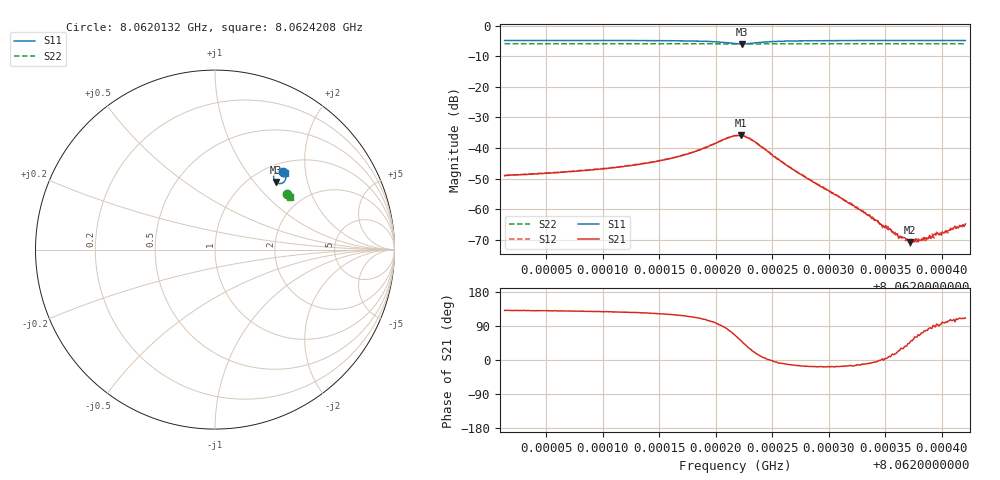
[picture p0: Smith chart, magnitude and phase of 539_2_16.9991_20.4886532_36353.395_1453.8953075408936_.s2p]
#  HZ  S  RI  R  50.00
! Rohde & Schwarz Vector Network Analyzer
! Rohde-Schwarz,ZNB20-2Port,1311601062101988,3.16
! Created: UTC 3/20/2024, 11:16:14 PM
! freq[Hz]  re:S11  im:S11  re:S21  im:S21  re:S12  im:S12  re:S22  im:S22
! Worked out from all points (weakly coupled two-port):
!   401 points, 8.0620132 GHz to 8.0624208 GHz, reference 50 ohm
!   highest |S21| = -35.84 dB at 8.062222 GHz (marker M1); lowest = -70.9 dB at 8.0623718 GHz (marker M2)
!   lowest |S11| = -5.9 dB at 8.0622231 GHz (marker M3), VSWR 3.05, Z = 64 + j64.8 ohm
!   |S11| at or under -10 dB: nowhere
!   |S22| runs from -5.9 to -5.9 dB; largest |S21 - S12| = 0.001
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8.06201315e9  0.3778 0.4347  -0.00231 0.00266  -0.00217 0.00283  0.4033 0.3106
8.06208143e9  0.3836 0.429  -0.00267 0.00332  -0.00248 0.00352  0.4058 0.3072
8.0621497e9  0.3913 0.4177  -0.00327 0.00521  -0.00306 0.00544  0.4084 0.3033
8.06217721e9  0.3947 0.4063  -0.0034 0.00749  -0.00298 0.00779  0.4093 0.3013
8.06221695e9  0.3558 0.3679  0.00659 0.0145  0.00742 0.0141  0.4083 0.2984
8.06222205e9  0.3398 0.3745  0.00997 0.0127  0.0106 0.012  0.408 0.2988
8.06222307e9  0.3371 0.3768  0.0104 0.0119  0.0112 0.0114  0.4078 0.2988
8.06223224e9  0.3263 0.4039  0.0122 0.00546  0.0126 0.00482  0.4079 0.2996
8.06226077e9  0.3548 0.4357  0.00541 -0.000969  0.00544 -0.00135  0.4106 0.2992
8.06228523e9  0.3683 0.4354  0.00274 -0.000855  0.0027 -0.00102  0.412 0.298
8.06231987e9  0.3775 0.4322  0.00114 -0.000308  0.00118 -0.000414  0.4135 0.2959
8.0623535e9  0.3826 0.4292  0.000472 7.89e-05  0.00045 2.75e-05  0.4148 0.2942
8.06236063e9  0.3836 0.4287  0.000367 0.00014  0.000379 0.000108  0.4151 0.2937
8.06237184e9  0.3848 0.4279  0.000194 0.00021  0.000189 0.000161  0.4155 0.2931
8.06237999e9  0.3857 0.4274  0.000134 0.000283  0.000131 0.000285  0.4159 0.2927
8.06238509e9  0.3862 0.427  7.82e-05 0.000318  0.000108 0.000286  0.4161 0.2924
8.06238916e9  0.3865 0.4266  3.42e-05 0.000371  6.91e-05 0.000339  0.4162 0.2923
8.06239426e9  0.387 0.4263  1.9e-05 0.000393  2.79e-05 0.000357  0.4163 0.2918
8.06240139e9  0.3878 0.4257  -6.07e-05 0.000404  -4.82e-05 0.000445  0.4166 0.2916
8.06240445e9  0.388 0.4255  -6.86e-05 0.000421  -6.79e-05 0.000407  0.4167 0.2914
8.06240954e9  0.3883 0.4253  -0.000119 0.000462  -9.36e-05 0.000464  0.4169 0.2913
8.06242075e9  0.3894 0.4245  -0.000206 0.000534  -0.00018 0.000514  0.4172 0.2904
